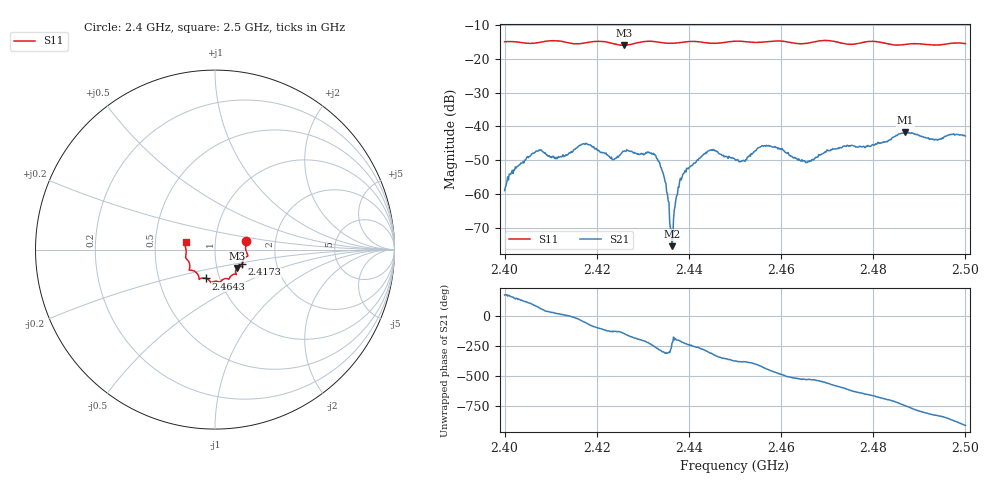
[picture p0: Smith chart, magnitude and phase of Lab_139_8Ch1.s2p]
# Hz S RI R 50
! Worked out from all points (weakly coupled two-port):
!   601 points, 2.4 GHz to 2.5 GHz, reference 50 ohm
!   highest |S21| = -41.74 dB at 2.487 GHz (marker M1); lowest = -75.5 dB at 2.4363 GHz (marker M2)
!   lowest |S11| = -15.9 dB at 2.4258 GHz (marker M3), VSWR 1.38, Z = 62.3 - j13.2 ohm
!   |S11| at or under -10 dB: start of sweep to end of sweep
!   S12 and S22 are empty: the file has one direction only
!   S11 on the Smith chart (normalised r, x): 2.4 GHz: 1.41, +0.14; 2.4173 GHz: 1.34, -0.23; 2.4643 GHz: 0.86, -0.29; 2.5 GHz: 0.72, +0.06
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2.4e9  0.1734 0.0493  -0.00112 5.49e-05  0 0  0 0
2.4015e9  0.1761 0.0435  -0.00201 0.000614  0 0  0 0
2.4065e9  0.1717 -0.00393  -0.000126 0.00405  0 0  0 0
2.4115e9  0.1824 -0.0358  0.00313 0.00126  0 0  0 0
2.416667e9  0.1528 -0.0742  0.00444 -0.0031  0 0  0 0
2.417333e9  0.152 -0.0817  0.00363 -0.00408  0 0  0 0
2.4235e9  0.1418 -0.0938  -0.00201 -0.0025  0 0  0 0
2.425833e9  0.1219 -0.1031  -0.00337 -0.00264  0 0  0 0
2.433333e9  0.1133 -0.1372  0.000122 0.00307  0 0  0 0
2.434833e9  0.1034 -0.1378  0.000945 0.00119  0 0  0 0
2.436e9  0.0944 -0.1425  4.5e-05 0.000304  0 0  0 0
2.436333e9  0.0918 -0.1444  -0.000122 0.000116  0 0  0 0
2.437667e9  0.0837 -0.1525  -0.00119 0.000424  0 0  0 0
2.439167e9  0.0799 -0.1605  -0.00151 0.00163  0 0  0 0
2.4445e9  0.06 -0.1611  0.00245 0.00372  0 0  0 0
2.45e9  0.0287 -0.1815  0.00321 -0.000596  0 0  0 0
2.456833e9  -0.0127 -0.1797  0.00113 -0.00514  0 0  0 0
2.464333e9  -0.0499 -0.1608  -0.00292 -0.000925  0 0  0 0
2.466667e9  -0.0764 -0.1593  -0.00315 -0.000701  0 0  0 0
2.483333e9  -0.1406 -0.0896  0.00559 0.00269  0 0  0 0
2.487e9  -0.1553 -0.0555  0.00736 -0.00358  0 0  0 0
2.5e9  -0.1637 0.0425  -0.00714 0.000989  0 0  0 0
